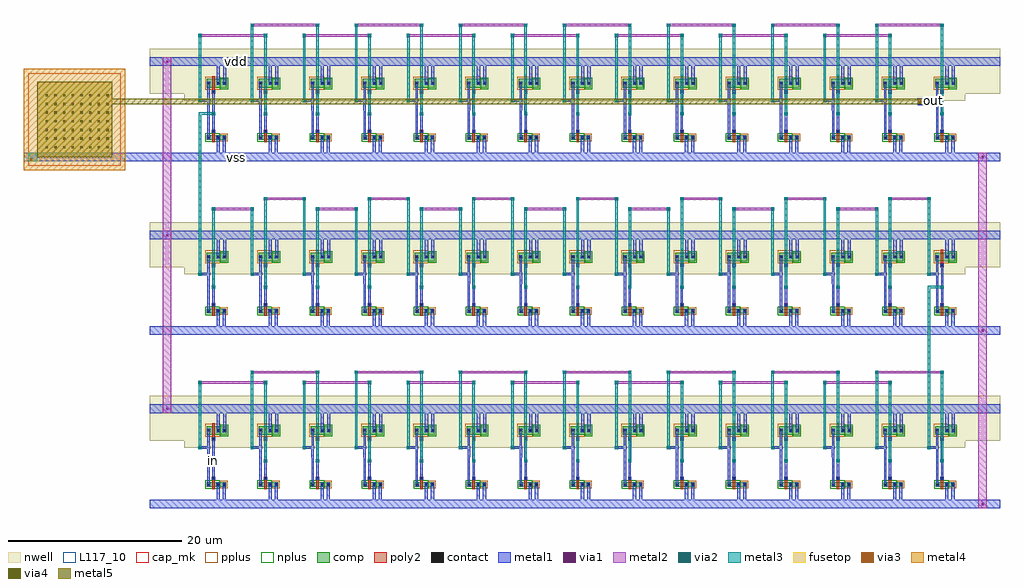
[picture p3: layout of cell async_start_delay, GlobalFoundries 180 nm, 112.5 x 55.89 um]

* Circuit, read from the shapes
.subckt async_start_delay in out vdd vss
XM1 vss in n1 vss nfet_03v3 w=0.5u l=0.28u
XM2 vss n2 n3 vss nfet_03v3 w=0.5u l=0.28u
XM3 vss n3 n4 vss nfet_03v3 w=0.5u l=0.28u
XM4 vss n1 n5 vss nfet_03v3 w=0.5u l=0.28u
XM5 vss n6 n2 vss nfet_03v3 w=0.5u l=0.28u
XM6 vss n4 n7 vss nfet_03v3 w=0.5u l=0.28u
XM7 vss n5 n8 vss nfet_03v3 w=0.5u l=0.28u
XM8 vss n9 n6 vss nfet_03v3 w=0.5u l=0.28u
XM9 vss n7 n10 vss nfet_03v3 w=0.5u l=0.28u
XM10 vss n8 n11 vss nfet_03v3 w=0.5u l=0.28u
XM11 vss n12 n9 vss nfet_03v3 w=0.5u l=0.28u
XM12 vss n10 n13 vss nfet_03v3 w=0.5u l=0.28u
XM13 vss n11 n14 vss nfet_03v3 w=0.5u l=0.28u
XM14 vss n15 n12 vss nfet_03v3 w=0.5u l=0.28u
XM15 vss n13 n16 vss nfet_03v3 w=0.5u l=0.28u
XM16 vss n14 n17 vss nfet_03v3 w=0.5u l=0.28u
XM17 vss n18 n15 vss nfet_03v3 w=0.5u l=0.28u
XM18 vss n16 n19 vss nfet_03v3 w=0.5u l=0.28u
XM19 vss n17 n20 vss nfet_03v3 w=0.5u l=0.28u
XM20 vss n21 n18 vss nfet_03v3 w=0.5u l=0.28u
XM21 vss n19 n22 vss nfet_03v3 w=0.5u l=0.28u
XM22 vss n20 n23 vss nfet_03v3 w=0.5u l=0.28u
XM23 vss n24 n21 vss nfet_03v3 w=0.5u l=0.28u
XM24 vss n22 n25 vss nfet_03v3 w=0.5u l=0.28u
XM25 vss n23 n26 vss nfet_03v3 w=0.5u l=0.28u
XM26 vss n27 n24 vss nfet_03v3 w=0.5u l=0.28u
XM27 vss n25 n28 vss nfet_03v3 w=0.5u l=0.28u
XM28 vss n26 n29 vss nfet_03v3 w=0.5u l=0.28u
XM29 vss n30 n27 vss nfet_03v3 w=0.5u l=0.28u
XM30 vss n28 n31 vss nfet_03v3 w=0.5u l=0.28u
XM31 vss n29 n32 vss nfet_03v3 w=0.5u l=0.28u
XM32 vss n33 n30 vss nfet_03v3 w=0.5u l=0.28u
XM33 vss n31 n34 vss nfet_03v3 w=0.5u l=0.28u
XM34 vss n32 n35 vss nfet_03v3 w=0.5u l=0.28u
XM35 vss n36 n33 vss nfet_03v3 w=0.5u l=0.28u
XM36 vss n34 n37 vss nfet_03v3 w=0.5u l=0.28u
XM37 vss n35 n38 vss nfet_03v3 w=0.5u l=0.28u
XM38 vss n39 n36 vss nfet_03v3 w=0.5u l=0.28u
XM39 vss n37 n40 vss nfet_03v3 w=0.5u l=0.28u
XM40 vss n38 n41 vss nfet_03v3 w=0.5u l=0.28u
XM41 vss n42 n39 vss nfet_03v3 w=0.5u l=0.28u
XM42 vss n40 n43 vss nfet_03v3 w=0.5u l=0.28u
XM43 vss n41 n44 vss nfet_03v3 w=0.5u l=0.28u
XM44 vss n44 n42 vss nfet_03v3 w=0.5u l=0.28u
XM45 vss n43 out vss nfet_03v3 w=0.5u l=0.28u
XM46 vdd in n1 vdd pfet_03v3 w=1u l=0.28u
XM47 vdd n2 n3 vdd pfet_03v3 w=1u l=0.28u
XM48 vdd n3 n4 vdd pfet_03v3 w=1u l=0.28u
XM49 vdd n1 n5 vdd pfet_03v3 w=1u l=0.28u
XM50 vdd n6 n2 vdd pfet_03v3 w=1u l=0.28u
XM51 vdd n4 n7 vdd pfet_03v3 w=1u l=0.28u
XM52 vdd n5 n8 vdd pfet_03v3 w=1u l=0.28u
XM53 vdd n9 n6 vdd pfet_03v3 w=1u l=0.28u
XM54 vdd n7 n10 vdd pfet_03v3 w=1u l=0.28u
XM55 vdd n8 n11 vdd pfet_03v3 w=1u l=0.28u
XM56 vdd n12 n9 vdd pfet_03v3 w=1u l=0.28u
XM57 vdd n10 n13 vdd pfet_03v3 w=1u l=0.28u
XM58 vdd n11 n14 vdd pfet_03v3 w=1u l=0.28u
XM59 vdd n15 n12 vdd pfet_03v3 w=1u l=0.28u
XM60 vdd n13 n16 vdd pfet_03v3 w=1u l=0.28u
XM61 vdd n14 n17 vdd pfet_03v3 w=1u l=0.28u
XM62 vdd n18 n15 vdd pfet_03v3 w=1u l=0.28u
XM63 vdd n16 n19 vdd pfet_03v3 w=1u l=0.28u
XM64 vdd n17 n20 vdd pfet_03v3 w=1u l=0.28u
XM65 vdd n21 n18 vdd pfet_03v3 w=1u l=0.28u
XM66 vdd n19 n22 vdd pfet_03v3 w=1u l=0.28u
XM67 vdd n20 n23 vdd pfet_03v3 w=1u l=0.28u
XM68 vdd n24 n21 vdd pfet_03v3 w=1u l=0.28u
XM69 vdd n22 n25 vdd pfet_03v3 w=1u l=0.28u
XM70 vdd n23 n26 vdd pfet_03v3 w=1u l=0.28u
XM71 vdd n27 n24 vdd pfet_03v3 w=1u l=0.28u
XM72 vdd n25 n28 vdd pfet_03v3 w=1u l=0.28u
XM73 vdd n26 n29 vdd pfet_03v3 w=1u l=0.28u
XM74 vdd n30 n27 vdd pfet_03v3 w=1u l=0.28u
XM75 vdd n28 n31 vdd pfet_03v3 w=1u l=0.28u
XM76 vdd n29 n32 vdd pfet_03v3 w=1u l=0.28u
XM77 vdd n33 n30 vdd pfet_03v3 w=1u l=0.28u
XM78 vdd n31 n34 vdd pfet_03v3 w=1u l=0.28u
XM79 vdd n32 n35 vdd pfet_03v3 w=1u l=0.28u
XM80 vdd n36 n33 vdd pfet_03v3 w=1u l=0.28u
XM81 vdd n34 n37 vdd pfet_03v3 w=1u l=0.28u
XM82 vdd n35 n38 vdd pfet_03v3 w=1u l=0.28u
XM83 vdd n39 n36 vdd pfet_03v3 w=1u l=0.28u
XM84 vdd n37 n40 vdd pfet_03v3 w=1u l=0.28u
XM85 vdd n38 n41 vdd pfet_03v3 w=1u l=0.28u
XM86 vdd n42 n39 vdd pfet_03v3 w=1u l=0.28u
XM87 vdd n40 n43 vdd pfet_03v3 w=1u l=0.28u
XM88 vdd n41 n44 vdd pfet_03v3 w=1u l=0.28u
XM89 vdd n44 n42 vdd pfet_03v3 w=1u l=0.28u
XM90 vdd n43 out vdd pfet_03v3 w=1u l=0.28u
XC91 out vss cap_mim_2f0fF c_width=8.66u c_length=8.66u
.ends

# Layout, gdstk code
import gdstk
lib = gdstk.Library(unit=1e-6, precision=1e-09)
def R(c, l, rs):  # rectangles x0, y0, x1, y1
    for r in rs: c.add(gdstk.rectangle(r[:2], r[2:], *l))
def A(c, l, x, y, w, h, nx, ny, dx, dy):  # array of equal rectangles
    R(c, l, [(x+i*dx, y+j*dy, x+i*dx+w, y+j*dy+h) for i in range(nx) for j in range(ny)])
nwell = (21, 0)
comp = (22, 0)
poly2 = (30, 0)
pplus = (31, 0)
nplus = (32, 0)
contact = (33, 0)
metal1 = (34, 0)
via1 = (35, 0)
metal2 = (36, 0)
via2 = (38, 0)
via3 = (40, 0)
via4 = (41, 0)
metal3 = (42, 0)
metal4 = (46, 0)
fusetop = (75, 0)
metal5 = (81, 0)
cap_mk = (117, 5)
L117_10 = (117, 10)

gf180mcu_nfet_l_0_280_w_ = lib.new_cell('gf180mcu.nfet(L=0.280,W=0.500)')

gf180mcu_pfet_l_0_280_w_ = lib.new_cell('gf180mcu.pfet(L=0.280,W=1.000)')

async_inverter = lib.new_cell('async_inverter')
R(async_inverter, nwell, [(0,4.5,6,10), (0,4.5,6,10), (0,4.5,6,10), (1.85,5.31,5.54,7.69), (1.85,5.31,5.54,7.69), (1.85,5.31,5.54,7.69)])
R(async_inverter, comp, [(2.58,0,3,0.5), (2.58,0,3,0.5), (2.58,0,3,0.5), (3,0,3.66,0.5), (3,0,3.66,0.5), (3,0,3.66,0.5), (3.66,0,4.08,0.5), (3.66,0,4.08,0.5), (3.66,0,4.08,0.5), (4.08,0,4.79,0.5), (4.08,0,4.79,0.5), (4.08,0,4.79,0.5), (2.54,6,3,7), (2.54,6,3,7), (2.54,6,3,7), (3,6,3.66,7), (3,6,3.66,7), (3,6,3.66,7), (3.66,6,4.12,7), (3.66,6,4.12,7), (3.66,6,4.12,7), (4.12,6,4.85,7), (4.12,6,4.85,7), (4.12,6,4.85,7)])
R(async_inverter, poly2, [(3.19,-0.3,3.47,0.8), (3.19,-0.3,3.47,0.8), (3.19,-0.3,3.47,0.8), (3.15,0.8,3.51,1.16), (3.15,0.8,3.51,1.16), (3.15,0.8,3.51,1.16), (3.14,5.32,3.52,5.7), (3.14,5.32,3.52,5.7), (3.14,5.32,3.52,5.7), (3.19,5.7,3.47,7.3), (3.19,5.7,3.47,7.3), (3.19,5.7,3.47,7.3)])
R(async_inverter, pplus, [(4.08,-0.17,4.96,0.67), (4.08,-0.17,4.96,0.67), (4.08,-0.17,4.96,0.67), (2.37,5.76,4.12,7.24), (2.37,5.76,4.12,7.24), (2.37,5.76,4.12,7.24)])
R(async_inverter, nplus, [(2.41,-0.24,4.08,0.74), (2.41,-0.24,4.08,0.74), (2.41,-0.24,4.08,0.74), (4.12,5.83,5.02,7.17), (4.12,5.83,5.02,7.17), (4.12,5.83,5.02,7.17)])
R(async_inverter, contact, [(2.68,0.14,2.9,0.36), (2.68,0.14,2.9,0.36), (2.68,0.14,2.9,0.36), (3.76,0.14,3.98,0.36), (3.76,0.14,3.98,0.36), (3.76,0.14,3.98,0.36), (4.47,0.14,4.69,0.36), (4.47,0.14,4.69,0.36), (4.47,0.14,4.69,0.36), (3.22,0.87,3.44,1.09), (3.22,0.87,3.44,1.09), (3.22,0.87,3.44,1.09), (3.22,5.4,3.44,5.62), (3.22,5.4,3.44,5.62), (3.22,5.4,3.44,5.62), (2.66,6.39,2.88,6.61), (2.66,6.39,2.88,6.61), (2.66,6.39,2.88,6.61), (3.78,6.39,4,6.61), (3.78,6.39,4,6.61), (3.78,6.39,4,6.61), (4.51,6.39,4.73,6.61), (4.51,6.39,4.73,6.61), (4.51,6.39,4.73,6.61)])
R(async_inverter, metal1, [(0,-2.5,6,-1.5), (0,-2.5,6,-1.5), (0,-2.5,6,-1.5), (3.69,-2.5,4.05,0.25), (3.69,-2.5,4.05,0.25), (3.69,-2.5,4.05,0.25), (4.4,-2.5,4.76,0.25), (4.4,-2.5,4.76,0.25), (4.4,-2.5,4.76,0.25), (2.6,0.06,2.98,0.44), (2.6,0.06,2.98,0.44), (2.6,0.06,2.98,0.44), (3.68,0.06,4.06,0.44), (3.68,0.06,4.06,0.44), (3.68,0.06,4.06,0.44), (4.39,0.06,4.77,0.44), (4.39,0.06,4.77,0.44), (4.39,0.06,4.77,0.44), (2.64,0.12,2.9,6.63), (2.64,0.12,2.9,6.63), (2.64,0.12,2.9,6.63), (3.14,0.79,3.52,1.17), (3.14,0.79,3.52,1.17), (3.14,0.79,3.52,1.17), (3.2,0.85,3.46,5.64), (3.2,0.85,3.46,5.64), (3.2,0.85,3.46,5.64), (3.14,5.32,3.52,5.7), (3.14,5.32,3.52,5.7), (3.14,5.32,3.52,5.7), (2.58,6.31,2.96,6.69), (2.58,6.31,2.96,6.69), (2.58,6.31,2.96,6.69), (3.7,6.31,4.08,6.69), (3.7,6.31,4.08,6.69), (3.7,6.31,4.08,6.69), (4.43,6.31,4.81,6.69), (4.43,6.31,4.81,6.69), (4.43,6.31,4.81,6.69), (3.71,6.5,4.07,9.5), (3.71,6.5,4.07,9.5), (3.71,6.5,4.07,9.5), (4.44,6.5,4.8,9.5), (4.44,6.5,4.8,9.5), (4.44,6.5,4.8,9.5), (0,8.5,6,9.5), (0,8.5,6,9.5), (0,8.5,6,9.5)])
async_inverter.add(gdstk.Reference(gf180mcu_nfet_l_0_280_w_, (0,0)))
async_inverter.add(gdstk.Reference(gf180mcu_pfet_l_0_280_w_, (0,0)))

async_start_delay = lib.new_cell('async_start_delay')
A(async_start_delay, nwell, 0, 5.3, 98, 5.2, 1, 3, 0, 20)
A(async_start_delay, metal1, 95.81, -2.19, 0.38, 0.38, 1, 3, 0, 20)
A(async_start_delay, metal1, 7.14, 2.81, 0.38, 0.38, 15, 3, 6, 20)
A(async_start_delay, metal1, 6.63, 3.38, 0.28, 1.12, 15, 3, 6, 20)
A(async_start_delay, metal1, 5.61, 4.31, 0.38, 0.38, 15, 2, 6, 20)
A(async_start_delay, metal1, 5.61, 4.36, 1.35, 0.28, 15, 3, 6, 20)
A(async_start_delay, metal1, 1.81, 8.81, 0.38, 0.38, 1, 3, 0, 20)
A(async_start_delay, metal1, 5.61, 44.31, 0.38, 0.38, 14, 1, 6, 0)
R(async_start_delay, metal1, [(0,-2.5,98,-1.5), (0,8.5,98,9.5), (0,17.5,98,18.5), (0,28.5,98,29.5), (-14.5,37.5,0,38.5), (0,37.5,98,38.5), (88.5,44,89.65,44.8), (0,48.5,98,49.5)])
A(async_start_delay, via1, 95.87, -2.13, 0.26, 0.26, 1, 3, 0, 20)
A(async_start_delay, via1, 7.2, 2.87, 0.26, 0.26, 15, 3, 6, 20)
A(async_start_delay, via1, 5.67, 4.37, 0.26, 0.26, 15, 2, 6, 20)
A(async_start_delay, via1, 1.87, 8.87, 0.26, 0.26, 1, 3, 0, 20)
A(async_start_delay, via1, 5.67, 44.37, 0.26, 0.26, 14, 1, 6, 0)
R(async_start_delay, via1, [(-13.8,37.6,-13.54,37.86), (88.75,44.25,89.01,44.51)])
A(async_start_delay, metal2, 95.81, -2.19, 0.38, 0.38, 1, 3, 0, 20)
A(async_start_delay, metal2, 1.81, 8.81, 0.38, 0.38, 1, 3, 0, 20)
A(async_start_delay, metal2, 5.61, 11.86, 7.91, 0.28, 7, 2, 12, 40)
A(async_start_delay, metal2, 11.61, 13.06, 7.91, 0.28, 7, 2, 12, 40)
A(async_start_delay, metal2, 7.14, 31.86, 4.85, 0.28, 7, 1, 12, 0)
A(async_start_delay, metal2, 13.14, 33.06, 4.85, 0.28, 7, 1, 12, 0)
R(async_start_delay, metal2, [(95.5,-2.5,96.5,38.5), (7.14,2.81,7.52,3.19), (13.14,2.81,13.52,3.19), (13.14,2.81,13.52,3.19), (19.14,2.81,19.52,3.19), (19.14,2.81,19.52,3.19), (25.14,2.81,25.52,3.19), (25.14,2.81,25.52,3.19), (31.14,2.81,31.52,3.19), (31.14,2.81,31.52,3.19), (37.14,2.81,37.52,3.19), (37.14,2.81,37.52,3.19), (43.14,2.81,43.52,3.19), (43.14,2.81,43.52,3.19), (49.14,2.81,49.52,3.19), (49.14,2.81,49.52,3.19), (55.14,2.81,55.52,3.19), (55.14,2.81,55.52,3.19), (61.14,2.81,61.52,3.19), (61.14,2.81,61.52,3.19), (67.14,2.81,67.52,3.19), (67.14,2.81,67.52,3.19), (73.14,2.81,73.52,3.19), (73.14,2.81,73.52,3.19), (79.14,2.81,79.52,3.19), (79.14,2.81,79.52,3.19), (85.14,2.81,85.52,3.19), (85.14,2.81,85.52,3.19), (91.14,2.81,91.52,3.19), (91.14,2.81,91.52,3.19), (5.61,4.31,5.99,4.69), (5.61,4.31,5.99,4.69), (11.61,4.31,11.99,4.69), (11.61,4.31,11.99,4.69), (17.61,4.31,17.99,4.69), (17.61,4.31,17.99,4.69), (23.61,4.31,23.99,4.69), (23.61,4.31,23.99,4.69), (29.61,4.31,29.99,4.69), (29.61,4.31,29.99,4.69), (35.61,4.31,35.99,4.69), (35.61,4.31,35.99,4.69), (41.61,4.31,41.99,4.69), (41.61,4.31,41.99,4.69), (47.61,4.31,47.99,4.69), (47.61,4.31,47.99,4.69), (53.61,4.31,53.99,4.69), (53.61,4.31,53.99,4.69), (59.61,4.31,59.99,4.69), (59.61,4.31,59.99,4.69), (65.61,4.31,65.99,4.69), (65.61,4.31,65.99,4.69), (71.61,4.31,71.99,4.69), (71.61,4.31,71.99,4.69), (77.61,4.31,77.99,4.69), (77.61,4.31,77.99,4.69), (83.61,4.31,83.99,4.69), (83.61,4.31,83.99,4.69), (89.61,4.31,89.99,4.69), (89.61,4.31,89.99,4.69), (1.5,8.5,2.5,49.5), (5.61,11.81,5.99,12.19), (13.14,11.81,13.52,12.19), (17.61,11.81,17.99,12.19), (25.14,11.81,25.52,12.19), (29.61,11.81,29.99,12.19), (37.14,11.81,37.52,12.19), (41.61,11.81,41.99,12.19), (49.14,11.81,49.52,12.19), (53.61,11.81,53.99,12.19), (61.14,11.81,61.52,12.19), (65.61,11.81,65.99,12.19), (73.14,11.81,73.52,12.19), (77.61,11.81,77.99,12.19), (85.14,11.81,85.52,12.19), (11.61,13.01,11.99,13.39), (19.14,13.01,19.52,13.39), (23.61,13.01,23.99,13.39), (31.14,13.01,31.52,13.39), (35.61,13.01,35.99,13.39), (43.14,13.01,43.52,13.39), (47.61,13.01,47.99,13.39), (55.14,13.01,55.52,13.39), (59.61,13.01,59.99,13.39), (67.14,13.01,67.52,13.39), (71.61,13.01,71.99,13.39), (79.14,13.01,79.52,13.39), (83.61,13.01,83.99,13.39), (91.14,13.01,91.52,13.39), (7.14,22.81,7.52,23.19), (7.14,22.81,7.52,23.19), (13.14,22.81,13.52,23.19), (13.14,22.81,13.52,23.19), (19.14,22.81,19.52,23.19), (19.14,22.81,19.52,23.19), (25.14,22.81,25.52,23.19), (25.14,22.81,25.52,23.19), (31.14,22.81,31.52,23.19), (31.14,22.81,31.52,23.19), (37.14,22.81,37.52,23.19), (37.14,22.81,37.52,23.19), (43.14,22.81,43.52,23.19), (43.14,22.81,43.52,23.19), (49.14,22.81,49.52,23.19), (49.14,22.81,49.52,23.19), (55.14,22.81,55.52,23.19), (55.14,22.81,55.52,23.19), (61.14,22.81,61.52,23.19), (61.14,22.81,61.52,23.19), (67.14,22.81,67.52,23.19), (67.14,22.81,67.52,23.19), (73.14,22.81,73.52,23.19), (73.14,22.81,73.52,23.19), (79.14,22.81,79.52,23.19), (79.14,22.81,79.52,23.19), (85.14,22.81,85.52,23.19), (85.14,22.81,85.52,23.19), (91.14,22.81,91.52,23.19), (91.14,22.81,91.52,23.19), (5.61,24.31,5.99,24.69), (5.61,24.31,5.99,24.69), (11.61,24.31,11.99,24.69), (11.61,24.31,11.99,24.69), (17.61,24.31,17.99,24.69), (17.61,24.31,17.99,24.69), (23.61,24.31,23.99,24.69), (23.61,24.31,23.99,24.69), (29.61,24.31,29.99,24.69), (29.61,24.31,29.99,24.69), (35.61,24.31,35.99,24.69), (35.61,24.31,35.99,24.69), (41.61,24.31,41.99,24.69), (41.61,24.31,41.99,24.69), (47.61,24.31,47.99,24.69), (47.61,24.31,47.99,24.69), (53.61,24.31,53.99,24.69), (53.61,24.31,53.99,24.69), (59.61,24.31,59.99,24.69), (59.61,24.31,59.99,24.69), (65.61,24.31,65.99,24.69), (65.61,24.31,65.99,24.69), (71.61,24.31,71.99,24.69), (71.61,24.31,71.99,24.69), (77.61,24.31,77.99,24.69), (77.61,24.31,77.99,24.69), (83.61,24.31,83.99,24.69), (83.61,24.31,83.99,24.69), (89.61,24.31,89.99,24.69), (89.61,24.31,89.99,24.69), (7.14,31.81,7.52,32.19), (11.61,31.81,11.99,32.19), (19.14,31.81,19.52,32.19), (23.61,31.81,23.99,32.19), (31.14,31.81,31.52,32.19), (35.61,31.81,35.99,32.19), (43.14,31.81,43.52,32.19), (47.61,31.81,47.99,32.19), (55.14,31.81,55.52,32.19), (59.61,31.81,59.99,32.19), (67.14,31.81,67.52,32.19), (71.61,31.81,71.99,32.19), (79.14,31.81,79.52,32.19), (83.61,31.81,83.99,32.19), (13.14,33.01,13.52,33.39), (17.61,33.01,17.99,33.39), (25.14,33.01,25.52,33.39), (29.61,33.01,29.99,33.39), (37.14,33.01,37.52,33.39), (41.61,33.01,41.99,33.39), (49.14,33.01,49.52,33.39), (53.61,33.01,53.99,33.39), (61.14,33.01,61.52,33.39), (65.61,33.01,65.99,33.39), (73.14,33.01,73.52,33.39), (77.61,33.01,77.99,33.39), (85.14,33.01,85.52,33.39), (89.61,33.01,89.99,33.39), (-14,37.5,-13,38.5), (7.14,42.81,7.52,43.19), (7.14,42.81,7.52,43.19), (13.14,42.81,13.52,43.19), (13.14,42.81,13.52,43.19), (19.14,42.81,19.52,43.19), (19.14,42.81,19.52,43.19), (25.14,42.81,25.52,43.19), (25.14,42.81,25.52,43.19), (31.14,42.81,31.52,43.19), (31.14,42.81,31.52,43.19), (37.14,42.81,37.52,43.19), (37.14,42.81,37.52,43.19), (43.14,42.81,43.52,43.19), (43.14,42.81,43.52,43.19), (49.14,42.81,49.52,43.19), (49.14,42.81,49.52,43.19), (55.14,42.81,55.52,43.19), (55.14,42.81,55.52,43.19), (61.14,42.81,61.52,43.19), (61.14,42.81,61.52,43.19), (67.14,42.81,67.52,43.19), (67.14,42.81,67.52,43.19), (73.14,42.81,73.52,43.19), (73.14,42.81,73.52,43.19), (79.14,42.81,79.52,43.19), (79.14,42.81,79.52,43.19), (85.14,42.81,85.52,43.19), (85.14,42.81,85.52,43.19), (91.14,42.81,91.52,43.19), (91.14,42.81,91.52,43.19), (88.6,44.1,89.2,44.7), (5.61,44.31,5.99,44.69), (5.61,44.31,5.99,44.69), (11.61,44.31,11.99,44.69), (11.61,44.31,11.99,44.69), (17.61,44.31,17.99,44.69), (17.61,44.31,17.99,44.69), (23.61,44.31,23.99,44.69), (23.61,44.31,23.99,44.69), (29.61,44.31,29.99,44.69), (29.61,44.31,29.99,44.69), (35.61,44.31,35.99,44.69), (35.61,44.31,35.99,44.69), (41.61,44.31,41.99,44.69), (41.61,44.31,41.99,44.69), (47.61,44.31,47.99,44.69), (47.61,44.31,47.99,44.69), (53.61,44.31,53.99,44.69), (53.61,44.31,53.99,44.69), (59.61,44.31,59.99,44.69), (59.61,44.31,59.99,44.69), (65.61,44.31,65.99,44.69), (65.61,44.31,65.99,44.69), (71.61,44.31,71.99,44.69), (71.61,44.31,71.99,44.69), (77.61,44.31,77.99,44.69), (77.61,44.31,77.99,44.69), (83.61,44.31,83.99,44.69), (83.61,44.31,83.99,44.69), (5.61,51.81,5.99,52.19), (13.14,51.81,13.52,52.19), (17.61,51.81,17.99,52.19), (25.14,51.81,25.52,52.19), (29.61,51.81,29.99,52.19), (37.14,51.81,37.52,52.19), (41.61,51.81,41.99,52.19), (49.14,51.81,49.52,52.19), (53.61,51.81,53.99,52.19), (61.14,51.81,61.52,52.19), (65.61,51.81,65.99,52.19), (73.14,51.81,73.52,52.19), (77.61,51.81,77.99,52.19), (85.14,51.81,85.52,52.19), (11.61,53.01,11.99,53.39), (19.14,53.01,19.52,53.39), (23.61,53.01,23.99,53.39), (31.14,53.01,31.52,53.39), (35.61,53.01,35.99,53.39), (43.14,53.01,43.52,53.39), (47.61,53.01,47.99,53.39), (55.14,53.01,55.52,53.39), (59.61,53.01,59.99,53.39), (67.14,53.01,67.52,53.39), (71.61,53.01,71.99,53.39), (79.14,53.01,79.52,53.39), (83.61,53.01,83.99,53.39), (91.14,53.01,91.52,53.39)])
A(async_start_delay, via2, 7.2, 2.87, 0.26, 0.26, 15, 3, 6, 20)
A(async_start_delay, via2, 5.67, 4.37, 0.26, 0.26, 15, 2, 6, 20)
A(async_start_delay, via2, 5.67, 44.37, 0.26, 0.26, 14, 1, 6, 0)
R(async_start_delay, via2, [(5.67,11.87,5.93,12.13), (13.2,11.87,13.46,12.13), (17.67,11.87,17.93,12.13), (25.2,11.87,25.46,12.13), (29.67,11.87,29.93,12.13), (37.2,11.87,37.46,12.13), (41.67,11.87,41.93,12.13), (49.2,11.87,49.46,12.13), (53.67,11.87,53.93,12.13), (61.2,11.87,61.46,12.13), (65.67,11.87,65.93,12.13), (73.2,11.87,73.46,12.13), (77.67,11.87,77.93,12.13), (85.2,11.87,85.46,12.13), (11.67,13.07,11.93,13.33), (19.2,13.07,19.46,13.33), (23.67,13.07,23.93,13.33), (31.2,13.07,31.46,13.33), (35.67,13.07,35.93,13.33), (43.2,13.07,43.46,13.33), (47.67,13.07,47.93,13.33), (55.2,13.07,55.46,13.33), (59.67,13.07,59.93,13.33), (67.2,13.07,67.46,13.33), (71.67,13.07,71.93,13.33), (79.2,13.07,79.46,13.33), (83.67,13.07,83.93,13.33), (91.2,13.07,91.46,13.33), (7.2,31.87,7.46,32.13), (11.67,31.87,11.93,32.13), (19.2,31.87,19.46,32.13), (23.67,31.87,23.93,32.13), (31.2,31.87,31.46,32.13), (35.67,31.87,35.93,32.13), (43.2,31.87,43.46,32.13), (47.67,31.87,47.93,32.13), (55.2,31.87,55.46,32.13), (59.67,31.87,59.93,32.13), (67.2,31.87,67.46,32.13), (71.67,31.87,71.93,32.13), (79.2,31.87,79.46,32.13), (83.67,31.87,83.93,32.13), (13.2,33.07,13.46,33.33), (17.67,33.07,17.93,33.33), (25.2,33.07,25.46,33.33), (29.67,33.07,29.93,33.33), (37.2,33.07,37.46,33.33), (41.67,33.07,41.93,33.33), (49.2,33.07,49.46,33.33), (53.67,33.07,53.93,33.33), (61.2,33.07,61.46,33.33), (65.67,33.07,65.93,33.33), (73.2,33.07,73.46,33.33), (77.67,33.07,77.93,33.33), (85.2,33.07,85.46,33.33), (89.67,33.07,89.93,33.33), (-13.8,37.6,-13.54,37.86), (88.75,44.25,89.01,44.51), (5.67,51.87,5.93,52.13), (13.2,51.87,13.46,52.13), (17.67,51.87,17.93,52.13), (25.2,51.87,25.46,52.13), (29.67,51.87,29.93,52.13), (37.2,51.87,37.46,52.13), (41.67,51.87,41.93,52.13), (49.2,51.87,49.46,52.13), (53.67,51.87,53.93,52.13), (61.2,51.87,61.46,52.13), (65.67,51.87,65.93,52.13), (73.2,51.87,73.46,52.13), (77.67,51.87,77.93,52.13), (85.2,51.87,85.46,52.13), (11.67,53.07,11.93,53.33), (19.2,53.07,19.46,53.33), (23.67,53.07,23.93,53.33), (31.2,53.07,31.46,53.33), (35.67,53.07,35.93,53.33), (43.2,53.07,43.46,53.33), (47.67,53.07,47.93,53.33), (55.2,53.07,55.46,53.33), (59.67,53.07,59.93,53.33), (67.2,53.07,67.46,53.33), (71.67,53.07,71.93,53.33), (79.2,53.07,79.46,53.33), (83.67,53.07,83.93,53.33), (91.2,53.07,91.46,53.33)])
R(async_start_delay, via3, [(-13.8,37.6,-13.54,37.86), (88.75,44.25,89.01,44.51)])
A(async_start_delay, via4, -12, 39, 0.26, 0.26, 8, 7, 1, 1)
R(async_start_delay, via4, [(88.75,44.25,89.01,44.51)])
A(async_start_delay, metal3, 7.14, 2.81, 0.38, 0.38, 15, 3, 6, 20)
A(async_start_delay, metal3, 13.19, 3, 0.28, 9, 7, 2, 12, 40)
A(async_start_delay, metal3, 19.19, 3, 0.28, 10.2, 7, 2, 12, 40)
A(async_start_delay, metal3, 5.61, 4.31, 0.38, 0.38, 15, 2, 6, 20)
A(async_start_delay, metal3, 5.66, 4.5, 0.28, 7.5, 7, 2, 12, 40)
A(async_start_delay, metal3, 11.66, 4.5, 0.28, 8.7, 7, 2, 12, 40)
A(async_start_delay, metal3, 7.19, 23, 0.28, 9, 7, 1, 12, 0)
A(async_start_delay, metal3, 13.19, 23, 0.28, 10.2, 7, 1, 12, 0)
A(async_start_delay, metal3, 11.66, 24.5, 0.28, 7.5, 7, 1, 12, 0)
A(async_start_delay, metal3, 17.66, 24.5, 0.28, 8.7, 7, 1, 12, 0)
A(async_start_delay, metal3, 5.61, 44.31, 0.38, 0.38, 14, 1, 6, 0)
R(async_start_delay, metal3, [(89.66,4.5,89.94,23), (5.61,11.81,5.99,12.19), (13.14,11.81,13.52,12.19), (17.61,11.81,17.99,12.19), (25.14,11.81,25.52,12.19), (29.61,11.81,29.99,12.19), (37.14,11.81,37.52,12.19), (41.61,11.81,41.99,12.19), (49.14,11.81,49.52,12.19), (53.61,11.81,53.99,12.19), (61.14,11.81,61.52,12.19), (65.61,11.81,65.99,12.19), (73.14,11.81,73.52,12.19), (77.61,11.81,77.99,12.19), (85.14,11.81,85.52,12.19), (11.61,13.01,11.99,13.39), (19.14,13.01,19.52,13.39), (23.61,13.01,23.99,13.39), (31.14,13.01,31.52,13.39), (35.61,13.01,35.99,13.39), (43.14,13.01,43.52,13.39), (47.61,13.01,47.99,13.39), (55.14,13.01,55.52,13.39), (59.61,13.01,59.99,13.39), (67.14,13.01,67.52,13.39), (71.61,13.01,71.99,13.39), (79.14,13.01,79.52,13.39), (83.61,13.01,83.99,13.39), (91.14,13.01,91.52,13.39), (89.66,22.86,91.47,23.14), (5.66,24.5,5.94,43), (7.14,31.81,7.52,32.19), (11.61,31.81,11.99,32.19), (19.14,31.81,19.52,32.19), (23.61,31.81,23.99,32.19), (31.14,31.81,31.52,32.19), (35.61,31.81,35.99,32.19), (43.14,31.81,43.52,32.19), (47.61,31.81,47.99,32.19), (55.14,31.81,55.52,32.19), (59.61,31.81,59.99,32.19), (67.14,31.81,67.52,32.19), (71.61,31.81,71.99,32.19), (79.14,31.81,79.52,32.19), (83.61,31.81,83.99,32.19), (13.14,33.01,13.52,33.39), (17.61,33.01,17.99,33.39), (25.14,33.01,25.52,33.39), (29.61,33.01,29.99,33.39), (37.14,33.01,37.52,33.39), (41.61,33.01,41.99,33.39), (49.14,33.01,49.52,33.39), (53.61,33.01,53.99,33.39), (61.14,33.01,61.52,33.39), (65.61,33.01,65.99,33.39), (73.14,33.01,73.52,33.39), (77.61,33.01,77.99,33.39), (85.14,33.01,85.52,33.39), (89.61,33.01,89.99,33.39), (-14,37.5,-13,38.5), (5.66,42.86,7.47,43.14), (88.6,44.1,89.2,44.7), (5.61,51.81,5.99,52.19), (13.14,51.81,13.52,52.19), (17.61,51.81,17.99,52.19), (25.14,51.81,25.52,52.19), (29.61,51.81,29.99,52.19), (37.14,51.81,37.52,52.19), (41.61,51.81,41.99,52.19), (49.14,51.81,49.52,52.19), (53.61,51.81,53.99,52.19), (61.14,51.81,61.52,52.19), (65.61,51.81,65.99,52.19), (73.14,51.81,73.52,52.19), (77.61,51.81,77.99,52.19), (85.14,51.81,85.52,52.19), (11.61,53.01,11.99,53.39), (19.14,53.01,19.52,53.39), (23.61,53.01,23.99,53.39), (31.14,53.01,31.52,53.39), (35.61,53.01,35.99,53.39), (43.14,53.01,43.52,53.39), (47.61,53.01,47.99,53.39), (55.14,53.01,55.52,53.39), (59.61,53.01,59.99,53.39), (67.14,53.01,67.52,53.39), (71.61,53.01,71.99,53.39), (79.14,53.01,79.52,53.39), (83.61,53.01,83.99,53.39), (91.14,53.01,91.52,53.39)])
R(async_start_delay, metal4, [(-14.5,36.5,-2.84,48.16), (88.6,44.1,89.2,44.7)])
R(async_start_delay, fusetop, [(-13,38,-4.34,46.66)])
R(async_start_delay, metal5, [(-13,38,-4.34,46.66), (-4.34,44.1,89.2,44.7)])
R(async_start_delay, cap_mk, [(-14,37,-3.34,47.66)])
R(async_start_delay, L117_10, [(-13,38,-4.34,38.5)])
async_start_delay.add(gdstk.Reference(async_inverter, (4,0)))
async_start_delay.add(gdstk.Reference(async_inverter, (58,0)))
async_start_delay.add(gdstk.Reference(async_inverter, (64,0)))
async_start_delay.add(gdstk.Reference(async_inverter, (70,0)))
async_start_delay.add(gdstk.Reference(async_inverter, (10,0)))
async_start_delay.add(gdstk.Reference(async_inverter, (16,0)))
async_start_delay.add(gdstk.Reference(async_inverter, (22,0)))
async_start_delay.add(gdstk.Reference(async_inverter, (28,0)))
async_start_delay.add(gdstk.Reference(async_inverter, (34,0)))
async_start_delay.add(gdstk.Reference(async_inverter, (40,0)))
async_start_delay.add(gdstk.Reference(async_inverter, (46,0)))
async_start_delay.add(gdstk.Reference(async_inverter, (52,0)))
async_start_delay.add(gdstk.Reference(async_inverter, (76,40)))
async_start_delay.add(gdstk.Reference(async_inverter, (82,40)))
async_start_delay.add(gdstk.Reference(async_inverter, (88,40)))
async_start_delay.add(gdstk.Reference(async_inverter, (76,0)))
async_start_delay.add(gdstk.Reference(async_inverter, (82,0)))
async_start_delay.add(gdstk.Reference(async_inverter, (88,0)))
async_start_delay.add(gdstk.Reference(async_inverter, (88,20)))
async_start_delay.add(gdstk.Reference(async_inverter, (82,20)))
async_start_delay.add(gdstk.Reference(async_inverter, (76,20)))
async_start_delay.add(gdstk.Reference(async_inverter, (70,20)))
async_start_delay.add(gdstk.Reference(async_inverter, (64,20)))
async_start_delay.add(gdstk.Reference(async_inverter, (10,40)))
async_start_delay.add(gdstk.Reference(async_inverter, (16,40)))
async_start_delay.add(gdstk.Reference(async_inverter, (22,40)))
async_start_delay.add(gdstk.Reference(async_inverter, (40,20)))
async_start_delay.add(gdstk.Reference(async_inverter, (34,20)))
async_start_delay.add(gdstk.Reference(async_inverter, (28,20)))
async_start_delay.add(gdstk.Reference(async_inverter, (22,20)))
async_start_delay.add(gdstk.Reference(async_inverter, (16,20)))
async_start_delay.add(gdstk.Reference(async_inverter, (10,20)))
async_start_delay.add(gdstk.Reference(async_inverter, (4,20)))
async_start_delay.add(gdstk.Reference(async_inverter, (4,40)))
async_start_delay.add(gdstk.Reference(async_inverter, (28,40)))
async_start_delay.add(gdstk.Reference(async_inverter, (58,20)))
async_start_delay.add(gdstk.Reference(async_inverter, (52,20)))
async_start_delay.add(gdstk.Reference(async_inverter, (46,20)))
async_start_delay.add(gdstk.Reference(async_inverter, (34,40)))
async_start_delay.add(gdstk.Reference(async_inverter, (40,40)))
async_start_delay.add(gdstk.Reference(async_inverter, (46,40)))
async_start_delay.add(gdstk.Reference(async_inverter, (52,40)))
async_start_delay.add(gdstk.Reference(async_inverter, (58,40)))
async_start_delay.add(gdstk.Reference(async_inverter, (64,40)))
async_start_delay.add(gdstk.Reference(async_inverter, (70,40)))
async_start_delay.add(gdstk.Label('in', (7.33,3), layer=34, texttype=10))
async_start_delay.add(gdstk.Label('out', (90.28,44.5), layer=34, texttype=10))
async_start_delay.add(gdstk.Label('vdd', (10,49), layer=34, texttype=10))
async_start_delay.add(gdstk.Label('vss', (10,38), layer=34, texttype=10))
async_start_delay.add(gdstk.Label('in', (7.33,3), layer=36, texttype=10))
async_start_delay.add(gdstk.Label('in', (7.33,3), layer=42, texttype=10))

lib.write_gds('async_start_delay.gds')
